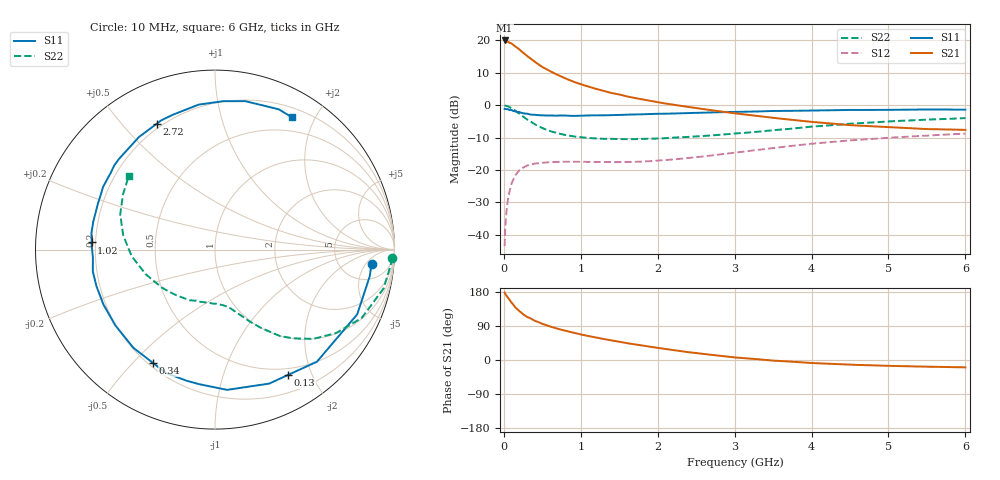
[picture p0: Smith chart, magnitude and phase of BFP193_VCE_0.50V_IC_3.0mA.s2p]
! Infineon Technologies  Discrete & RF Semiconductors
! BFP193
! VCE = 0.50V,  IC =  3.0 mA
! Common Emitter S-Parameters:  Jan 2016
# GHz  S  MA  R  50
!  f  S11  S21  S12  S22
! GHz  MAG  ANG  MAG  ANG  MAG  ANG  MAG  ANG
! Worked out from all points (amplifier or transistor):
!   210 points, 10 MHz to 6 GHz, reference 50 ohm
!   highest |S21| = 20.0 dB at 10 MHz (marker M1)
!   |S21| within 3 dB of that: start of sweep to 211.9 MHz
!   unconditionally stable (mu >= 1): 1.353 GHz to end of sweep
!   at 185 MHz: K = 0.16, MSG = 19.1 dB, |S12| = -20.6 dB
!   at 1.52 GHz: K = 1.08, MAG = 8.6 dB, |S12| = -17.6 dB
!   at 6 GHz: K = 1.05, MAG = -0.8 dB, |S12| = -8.8 dB
!   S11 on the Smith chart (normalised r, x): 10 MHz: 10, -7; 130 MHz: 0.41, -1.67; 340 MHz: 0.22, -0.57; 1.02 GHz: 0.18, +0.03; 2.72 GHz: 0.18, +0.63; 6 GHz: 0.31, +1.69
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0.01  0.8757 -5.3  10.02 178.0  0.0066 88.4  0.9875 -2.7
0.02  0.8747 -9.9  9.775 173.7  0.0135 82.7  0.9823 -5.2
0.05  0.8705 -24.5  9.572 165.1  0.0327 76.5  0.9639 -13.0
0.1  0.8442 -47.7  9.017 151.5  0.0615 64.5  0.9018 -25.0
0.13  0.8084 -59.7  8.42 144.2  0.0738 57.8  0.8493 -30.5
0.15  0.8053 -68.0  8.106 138.8  0.0824 54.5  0.8191 -34.6
0.2  0.7843 -85.1  7.298 129.3  0.0981 46.6  0.7391 -42.3
0.26  0.7475 -102.2  6.335 119.4  0.1099 38.9  0.6493 -49.3
0.3  0.7398 -111.6  5.793 114.0  0.1162 35.4  0.6036 -53.0
0.34  0.7198 -118.7  5.336 110.4  0.1194 32.5  0.5642 -55.3
0.4  0.7115 -129.7  4.699 103.8  0.1247 28.4  0.5072 -59.5
0.5  0.6975 -142.7  3.89 95.3  0.1288 23.8  0.4418 -64.5
0.6  0.6929 -153.8  3.35 88.3  0.1313 20.7  0.3977 -68.2
0.8  0.6915 -169.9  2.589 77.0  0.1336 16.9  0.3453 -74.2
1.02  0.6886 176.7  2.07 66.7  0.1331 15.4  0.3175 -80.2
1.4  0.7008 158.7  1.543 51.7  0.1317 15.8  0.3018 -91.5
2.02  0.7361 136.0  1.099 31.4  0.1398 22.8  0.3048 -111.0
2.72  0.7732 114.7  0.829 13.2  0.1679 28.7  0.3416 -135.0
3.1  0.79 105.1  0.725 5.3  0.1906 29.3  0.3709 -148.1
4.1  0.8299 85.1  0.54 -8.7  0.2596 23.7  0.4742 -178.4
5.1  0.848 70.4  0.45 -15.8  0.3184 13.2  0.5684 157.5
6  0.8527 60.0  0.415 -19.4  0.3636 2.8  0.631 139.6
